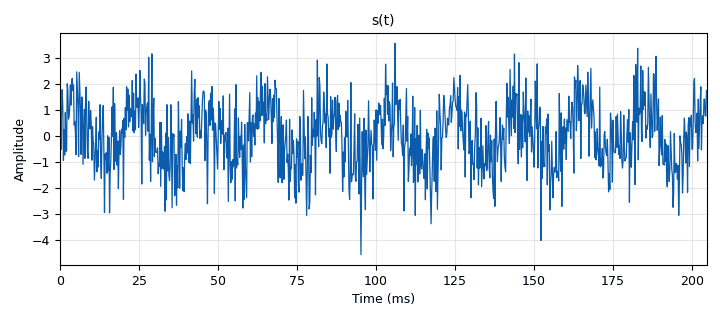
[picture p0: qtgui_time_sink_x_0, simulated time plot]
options:
  parameters:
    author: YAKOTT
    copyright: YAKOTT
    generate_options: qt_gui
    id: QT_DSP_Signal_4
    output_language: python
    title: QT_DSP_Signal_4
  states: {}

blocks:
- name: A
  id: variable_qtgui_range
  parameters:
    comment: Amplitude of the signal.
    orient: Qt.Horizontal
    start: '0'
    step: '1'
    stop: '10'
    value: '1'
  states: {}
- name: An
  id: variable_qtgui_range
  parameters:
    orient: Qt.Horizontal
    start: '0'
    step: '1'
    stop: '10'
    value: '1'
  states: {}
- name: Phi
  id: variable_qtgui_range
  parameters:
    comment: Phase of the signal.
    orient: Qt.Horizontal
    start: '0'
    step: '0.1'
    stop: 2*math.pi
    value: '0'
  states: {}
- name: Tasa_de_Muestreo
  id: variable_qtgui_range
  parameters:
    comment: Sample Rate operation.
    orient: Qt.Horizontal
    start: 1e3
    step: '1'
    stop: 10e3
    value: 5e3
  states: {}
- name: fo
  id: variable_qtgui_range
  parameters:
    comment: Frequency  of the signal.
    orient: Qt.Horizontal
    start: '0'
    step: '1'
    stop: 1e3
    value: '50'
  states: {}
- name: analog_noise_source_x_0
  id: analog_noise_source_x
  parameters:
    amp: An
    comment: Create noise.
    noise_type: analog.GR_GAUSSIAN
    seed: '0'
    type: float
  states: {}
- name: analog_sig_source_x_0
  id: analog_sig_source_x
  parameters:
    amp: A
    comment: Create a signal.
    freq: fo
    offset: Phi
    phase: '0'
    samp_rate: Tasa_de_Muestreo
    type: float
    waveform: analog.GR_COS_WAVE
  states: {}
- name: blocks_add_xx_0
  id: blocks_add_xx
  parameters:
    type: float
  states: {}
- name: blocks_throttle_0
  id: blocks_throttle
  parameters:
    comment: Reduce CPU usage.
    samples_per_second: Tasa_de_Muestreo
    type: float
  states: {}
- name: import_0
  id: import
  parameters:
    imports: import math as math
  states: {}
- name: qtgui_time_sink_x_0
  id: qtgui_time_sink_x
  parameters:
    autoscale: 'True'
    comment: Plot signal over time.
    grid: 'True'
    name: '"s(t)"'
    size: '1024'
    srate: Tasa_de_Muestreo
    type: float
  states: {}

connections:
- [analog_noise_source_x_0, '0', blocks_add_xx_0, '1']
- [analog_sig_source_x_0, '0', blocks_throttle_0, '0']
- [blocks_add_xx_0, '0', qtgui_time_sink_x_0, '0']
- [blocks_throttle_0, '0', blocks_add_xx_0, '0']

metadata:
  file_format: 1
